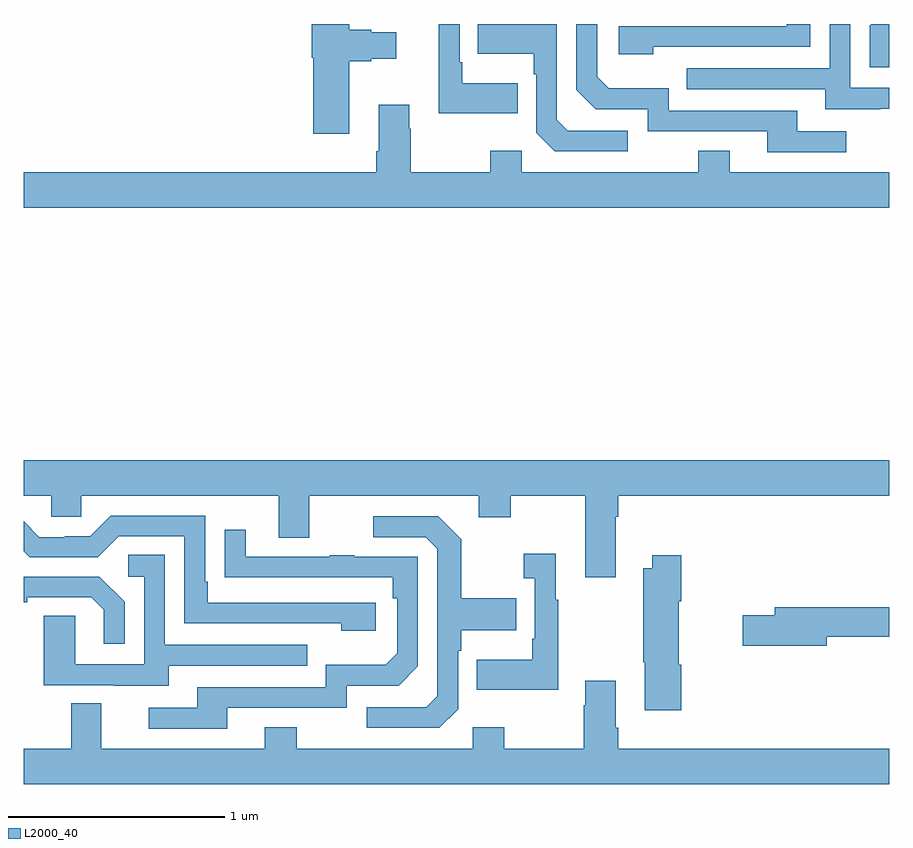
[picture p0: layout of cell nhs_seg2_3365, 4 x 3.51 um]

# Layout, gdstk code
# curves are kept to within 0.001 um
import gdstk
lib = gdstk.Library(unit=1e-6, precision=1e-09)
def P(c, l, *ps):  # polygons
    for p in ps: c.add(gdstk.Polygon(p, *l))
L2000_40 = (2000, 40)

nhs_seg2_3365 = lib.new_cell('nhs_seg2_3365')
P(nhs_seg2_3365, L2000_40, [(288.505,665.627),(288.605,665.627),(288.605,665.639),(288.721,665.639),(288.721,665.761),(288.605,665.761),(288.605,665.774),(288.505,665.774),(288.505,665.8),(288.332,665.8),(288.332,665.643),(288.338,665.643),(288.338,665.292),(288.505,665.292)],
  [(289.283,665.527),(289.027,665.527),(289.027,665.623),(289.014,665.623),(289.014,665.8),(288.917,665.8),(288.917,665.387),(289.283,665.387)],
  [(289.91,665.694),(290.634,665.694),(290.634,665.8),(290.525,665.8),(290.525,665.79),(289.749,665.79),(289.749,665.66),(289.91,665.66)],
  [(291,665.8),(290.916,665.8),(290.91,665.794),(290.91,665.601),(291,665.601)],
  [(290.959,665.409),(291,665.409),(291,665.505),(290.82,665.505),(290.82,665.8),(290.724,665.8),(290.724,665.595),(290.065,665.595),(290.065,665.499),(290.705,665.499),(290.705,665.405),(290.959,665.405)],
  [(290.8,665.304),(290.575,665.304),(290.575,665.4),(289.98,665.4),(289.98,665.503),(289.703,665.503),(289.65,665.556),(289.65,665.8),(289.554,665.8),(289.554,665.496),(289.644,665.406),(289.884,665.406),(289.884,665.304),(290.435,665.304),(290.435,665.208),(290.8,665.208)],
  [(289.792,665.307),(289.515,665.307),(289.464,665.358),(289.464,665.8),(289.099,665.8),(289.099,665.663),(289.356,665.663),(289.356,665.567),(289.368,665.567),(289.368,665.298),(289.455,665.211),(289.792,665.211)],
  [(291,665.116),(290.263,665.116),(290.263,665.215),(290.116,665.215),(290.116,665.116),(289.302,665.116),(289.302,665.215),(289.156,665.215),(289.156,665.116),(288.789,665.116),(288.789,665.315),(288.781,665.315),(288.781,665.428),(288.641,665.428),(288.641,665.212),(288.629,665.212),(288.629,665.116),(287,665.116),(287,664.952),(291,664.952)],
  [(289.735,663.524),(289.748,663.524),(289.748,663.62),(291,663.62),(291,663.784),(287,663.784),(287,663.62),(287.127,663.62),(287.127,663.522),(287.265,663.522),(287.265,663.62),(288.179,663.62),(288.179,663.426),(288.319,663.426),(288.319,663.62),(289.103,663.62),(289.103,663.521),(289.251,663.521),(289.251,663.62),(289.595,663.62),(289.595,663.243),(289.735,663.243)],
  [(288.628,663.126),(287.851,663.126),(287.851,663.223),(287.838,663.223),(287.838,663.528),(287.403,663.528),(287.307,663.432),(287.189,663.432),(287.189,663.429),(287.073,663.429),(287,663.502),(287,663.364),(287.028,663.336),(287.343,663.336),(287.439,663.432),(287.742,663.432),(287.742,663.03),(288.467,663.03),(288.467,662.996),(288.628,662.996)],
  [(289.008,662.634),(289.008,662.903),(289.021,662.903),(289.021,662.999),(289.277,662.999),(289.277,663.147),(289.021,663.147),(289.021,663.419),(288.915,663.525),(288.615,663.525),(288.615,663.429),(288.858,663.429),(288.912,663.375),(288.912,662.694),(288.861,662.643),(288.585,662.643),(288.585,662.547),(288.921,662.547)],
  [(287.941,662.64),(288.492,662.64),(288.492,662.742),(288.732,662.742),(288.822,662.832),(288.822,663.339),(288.527,663.339),(288.527,663.344),(288.415,663.344),(288.415,663.339),(288.025,663.339),(288.025,663.463),(287.929,663.463),(287.929,663.244),(288.706,663.243),(288.706,663.146),(288.726,663.146),(288.726,662.892),(288.673,662.839),(288.396,662.839),(288.396,662.736),(287.801,662.736),(287.801,662.64),(287.577,662.64),(287.577,662.544),(287.941,662.544)],
  [(289.471,663.139),(289.459,663.139),(289.459,663.352),(289.311,663.352),(289.311,663.239),(289.362,663.239),(289.362,662.959),(289.35,662.959),(289.35,662.863),(289.093,662.863),(289.093,662.723),(289.471,662.723)],
  [(287.671,662.835),(288.311,662.835),(288.311,662.931),(287.652,662.931),(287.652,663.347),(287.484,663.347),(287.484,663.246),(287.556,663.246),(287.556,662.841),(287.238,662.841),(287.238,663.065),(287.093,663.065),(287.093,662.745),(287.417,662.745),(287.417,662.741),(287.671,662.741)],
  [(290.039,662.84),(290.026,662.84),(290.026,663.133),(290.039,663.133),(290.039,663.346),(289.904,663.346),(289.904,663.286),(289.864,663.286),(289.864,662.851),(289.871,662.851),(289.871,662.628),(290.039,662.628)],
  [(287.466,663.13),(287.35,663.246),(287,663.246),(287,663.128),(287.017,663.128),(287.017,663.15),(287.312,663.15),(287.369,663.093),(287.369,662.937),(287.466,662.937)],
  [(290.71,662.968),(291,662.968),(291,663.104),(290.471,663.104),(290.471,663.068),(290.322,663.068),(290.322,662.926),(290.71,662.926)],
  [(291,662.452),(289.748,662.452),(289.748,662.548),(289.735,662.548),(289.735,662.764),(289.595,662.764),(289.595,662.651),(289.588,662.651),(289.588,662.452),(289.221,662.452),(289.221,662.551),(289.074,662.551),(289.074,662.452),(288.261,662.452),(288.261,662.551),(288.113,662.551),(288.113,662.452),(287.359,662.452),(287.359,662.66),(287.219,662.66),(287.219,662.452),(287,662.452),(287,662.288),(291,662.288)])

lib.write_gds('nhs_seg2_3365.gds')
